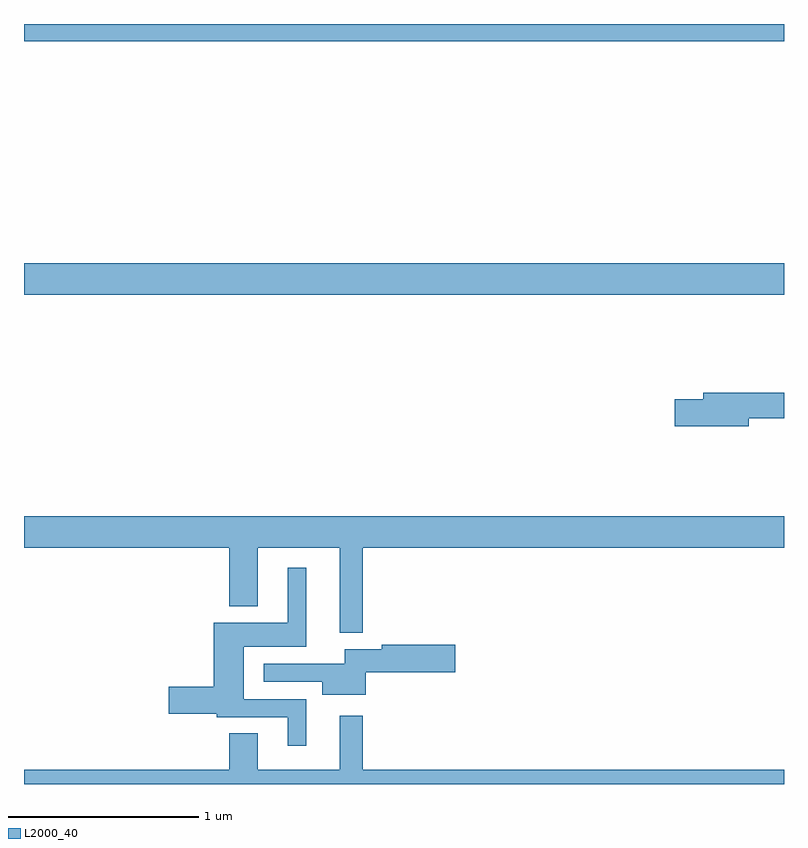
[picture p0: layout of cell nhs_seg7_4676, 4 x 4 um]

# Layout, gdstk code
import gdstk
lib = gdstk.Library(unit=1e-6, precision=1e-09)
def R(c, l, rs):  # rectangles x0, y0, x1, y1
    for r in rs: c.add(gdstk.rectangle(r[:2], r[2:], *l))
def P(c, l, *ps):  # polygons
    for p in ps: c.add(gdstk.Polygon(p, *l))
L2000_40 = (2000, 40)

nhs_seg7_4676 = lib.new_cell('nhs_seg7_4676')
R(nhs_seg7_4676, L2000_40, [(405,1040.576,409,1040.74), (405,1041.908,409,1042)])
P(nhs_seg7_4676, L2000_40, [(408.814,1039.924),(409,1039.924),(409,1040.06),(408.575,1040.06),(408.575,1040.024),(408.426,1040.024),(408.426,1039.882),(408.814,1039.882)],
  [(406.783,1039.244),(409,1039.244),(409,1039.408),(405,1039.408),(405,1039.244),(406.079,1039.244),(406.079,1038.935),(406.231,1038.935),(406.231,1039.244),(406.661,1039.244),(406.661,1038.795),(406.783,1038.795)],
  [(406.486,1038.447),(406.156,1038.447),(406.156,1038.722),(406.486,1038.722),(406.486,1039.138),(406.388,1039.138),(406.388,1038.85),(405.998,1038.85),(405.998,1038.512),(405.762,1038.512),(405.762,1038.37),(406.014,1038.37),(406.014,1038.351),(406.388,1038.351),(406.388,1038.201),(406.486,1038.201)],
  [(406.798,1038.587),(407.269,1038.587),(407.269,1038.734),(406.884,1038.734),(406.884,1038.709),(406.688,1038.709),(406.688,1038.633),(406.263,1038.633),(406.263,1038.537),(406.571,1038.537),(406.571,1038.47),(406.798,1038.47)],
  [(409,1038.076),(406.783,1038.076),(406.783,1038.358),(406.661,1038.358),(406.661,1038.076),(406.231,1038.076),(406.231,1038.266),(406.079,1038.266),(406.079,1038.076),(405,1038.076),(405,1038),(409,1038)])

lib.write_gds('nhs_seg7_4676.gds')
